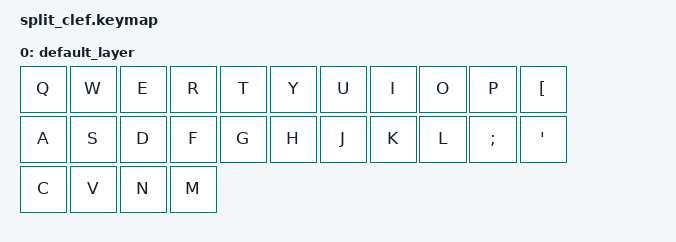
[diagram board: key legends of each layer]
#include <behaviors.dtsi>
#include <dt-bindings/zmk/keys.h>

/ {
    keymap {
        compatible = "zmk,keymap";

        default_layer { // Layer 0
            bindings = <
                &kp Q    &kp W    &kp E    &kp R    &kp T    &kp Y    &kp U    &kp I    &kp O   &kp P   &kp LBKT
                &kp A    &kp S    &kp D    &kp F    &kp G    &kp H    &kp J    &kp K    &kp L   &kp SEMI &kp SQT
                &kp C    &kp V    &kp N    &kp M
            >;
        };
    };
 };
